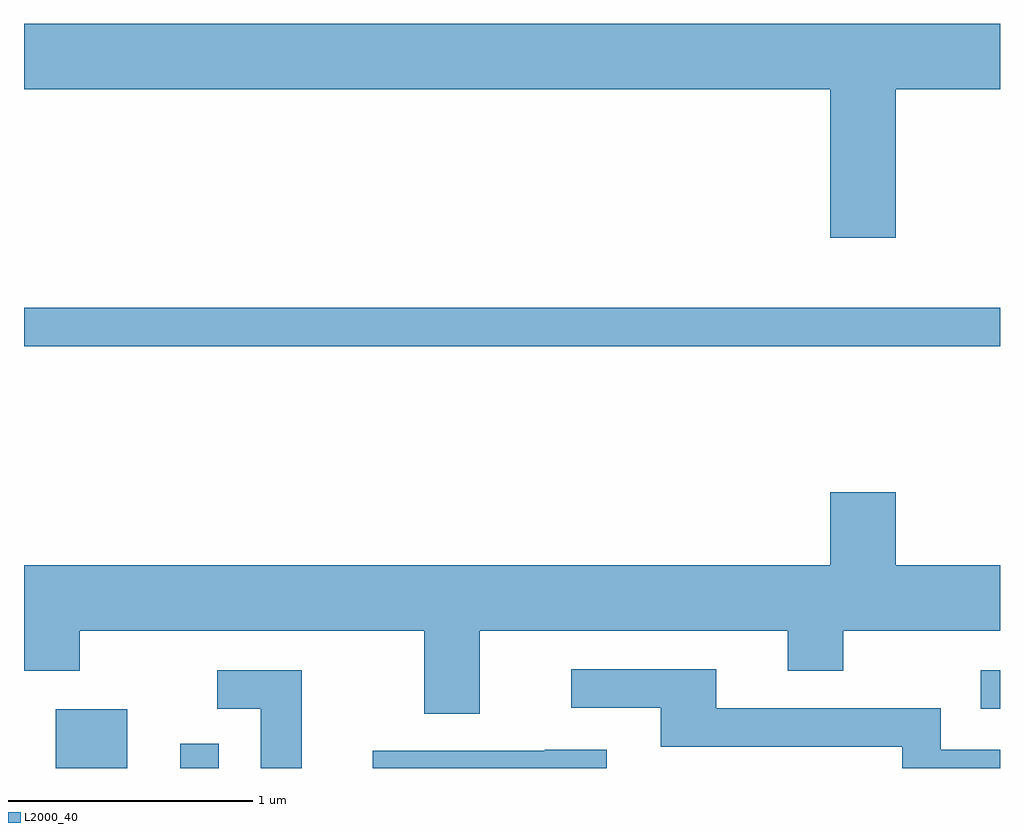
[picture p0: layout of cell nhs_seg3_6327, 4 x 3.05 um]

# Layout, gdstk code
import gdstk
lib = gdstk.Library(unit=1e-6, precision=1e-09)
def R(c, l, rs):  # rectangles x0, y0, x1, y1
    for r in rs: c.add(gdstk.rectangle(r[:2], r[2:], *l))
def P(c, l, *ps):  # polygons
    for p in ps: c.add(gdstk.Polygon(p, *l))
L2000_40 = (2000, 40)

nhs_seg3_6327 = lib.new_cell('nhs_seg3_6327')
R(nhs_seg3_6327, L2000_40, [(371.741,1129.892,372.034,1130.134), (372.251,1129.892,372.409,1129.993), (375.533,1130.136,375.611,1130.294), (371.611,1131.621,375.611,1131.779)])
P(nhs_seg3_6327, L2000_40, [(375.184,1132.676),(375.611,1132.676),(375.611,1132.944),(371.611,1132.944),(371.611,1132.676),(374.916,1132.676),(374.916,1132.066),(375.184,1132.066)],
  [(373.479,1130.456),(374.741,1130.456),(374.741,1130.291),(374.969,1130.291),(374.969,1130.456),(375.611,1130.456),(375.611,1130.724),(375.184,1130.724),(375.184,1131.024),(374.916,1131.024),(374.916,1130.724),(371.611,1130.724),(371.611,1130.291),(371.839,1130.291),(371.839,1130.456),(373.251,1130.456),(373.251,1130.116),(373.479,1130.116)],
  [(375.611,1129.969),(375.369,1129.969),(375.369,1130.139),(374.449,1130.139),(374.449,1130.299),(373.853,1130.299),(373.853,1130.141),(374.221,1130.141),(374.221,1129.981),(375.211,1129.981),(375.211,1129.892),(375.611,1129.892)],
  [(372.749,1130.294),(372.403,1130.294),(372.403,1130.136),(372.581,1130.136),(372.581,1129.892),(372.749,1129.892)],
  [(373.999,1129.969),(373.745,1129.969),(373.745,1129.964),(373.041,1129.964),(373.041,1129.892),(373.999,1129.892)])

lib.write_gds('nhs_seg3_6327.gds')
